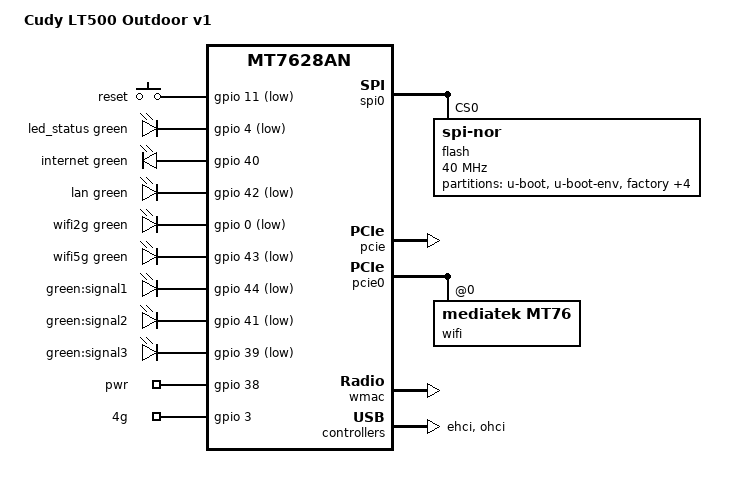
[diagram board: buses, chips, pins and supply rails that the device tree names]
// SPDX-License-Identifier: GPL-2.0-or-later OR MIT

#include "mt7628an.dtsi"

#include <dt-bindings/gpio/gpio.h>
#include <dt-bindings/input/input.h>
#include <dt-bindings/leds/common.h>

/ {
	compatible = "cudy,lt500-outdoor-v1", "mediatek,mt7628an-soc";
	model = "Cudy LT500 Outdoor v1";

	aliases {
		led-boot = &led_status;
		led-running = &led_status;
		led-failsafe = &led_status;
		led-upgrade = &led_status;
		label-mac-device = &ethernet;
	};

	chosen {
		bootargs = "console=ttyS0,115200";
	};

	gpio-keys {
		compatible = "gpio-keys";

		reset {
			label = "reset";
			linux,code = <KEY_RESTART>;
			gpios = <&gpio 11 GPIO_ACTIVE_LOW>;
		};
	};

	leds {
		compatible = "gpio-leds";

		led_status: status {
			gpios = <&gpio 4 GPIO_ACTIVE_LOW>;
			color = <LED_COLOR_ID_GREEN>;
			function = LED_FUNCTION_STATUS;
		};

		internet {
			gpios = <&gpio 40 GPIO_ACTIVE_HIGH>;
			color = <LED_COLOR_ID_GREEN>;
			function = LED_FUNCTION_WAN_ONLINE;
		};

		lan {
			gpios = <&gpio 42 GPIO_ACTIVE_LOW>;
			color = <LED_COLOR_ID_GREEN>;
			function = LED_FUNCTION_LAN;
		};

		wifi2g {
			gpios = <&gpio 0 GPIO_ACTIVE_LOW>;
			color = <LED_COLOR_ID_GREEN>;
			function = LED_FUNCTION_WLAN_2GHZ;
			linux,default-trigger = "phy0tpt";
		};

		wifi5g {
			gpios = <&gpio 43 GPIO_ACTIVE_LOW>;
			color = <LED_COLOR_ID_GREEN>;
			function = LED_FUNCTION_WLAN_5GHZ;
			linux,default-trigger = "phy1tpt";
		};

		signal1 {
			gpios = <&gpio 44 GPIO_ACTIVE_LOW>;
			label = "green:signal1";
		};

		signal2 {
			gpios = <&gpio 41 GPIO_ACTIVE_LOW>;
			label = "green:signal2";
		};

		signal3 {
			gpios = <&gpio 39 GPIO_ACTIVE_LOW>;
			label = "green:signal3";
		};
	};

	gpio-export {
		compatible = "gpio-export";

		pwr {
			gpio-export,name = "pwr";
			gpio-export,output = <0>;
			gpios = <&gpio 38 GPIO_ACTIVE_HIGH>;
		};

		usb4g {
			gpio-export,name = "4g";
			gpio-export,output = <0>;
			gpios = <&gpio 3 GPIO_ACTIVE_HIGH>;
		};
	};
};

&spi0 {
	status = "okay";

	flash@0 {
		compatible = "jedec,spi-nor";
		reg = <0>;
		spi-max-frequency = <40000000>;

		partitions {
			compatible = "fixed-partitions";
			#address-cells = <1>;
			#size-cells = <1>;

			partition@0 {
				label = "u-boot";
				reg = <0x0 0x30000>;
				read-only;
			};

			partition@30000 {
				label = "u-boot-env";
				reg = <0x30000 0x10000>;
				read-only;
			};

			factory: partition@40000 {
				label = "factory";
				reg = <0x40000 0x10000>;
				read-only;

				nvmem-layout {
					compatible = "fixed-layout";
					#address-cells = <1>;
					#size-cells = <1>;

					eeprom_factory_0: eeprom@0 {
						reg = <0x0 0x400>;
					};

					eeprom_factory_8000: eeprom@8000 {
						reg = <0x8000 0x4da8>;
					};
				};
			};

			partition@fd0000 {
				label = "debug";
				reg = <0xfd0000 0x10000>;
				read-only;
			};

			partition@fe0000 {
				label = "backup";
				reg = <0xfe0000 0x10000>;
				read-only;
			};

			bdinfo: partition@ff0000 {
				label = "bdinfo";
				reg = <0xff0000 0x10000>;
				read-only;

				nvmem-layout {
					compatible = "fixed-layout";
					#address-cells = <1>;
					#size-cells = <1>;

					macaddr_bdinfo_de00: macaddr@de00 {
						compatible = "mac-base";
						reg = <0xde00 0x6>;
						#nvmem-cell-cells = <1>;
					};
				};
			};

			partition@50000 {
				compatible = "denx,uimage";
				label = "firmware";
				reg = <0x50000 0xf80000>;
			};
		};
	};
};

&state_default {
	gpio {
		groups = "refclk", "wled_an", "gpio", "spi cs1";
		function = "gpio";
	};
};

&pcie {
	status = "okay";
};

&pcie0 {
	wifi@0,0 {
		compatible = "mediatek,mt76";
		reg = <0x0000 0 0 0 0>;
		nvmem-cells = <&eeprom_factory_8000>, <&macaddr_bdinfo_de00 2>;
		nvmem-cell-names = "eeprom", "mac-address";
		ieee80211-freq-limit = <5000000 6000000>;
	};
};

&wmac {
	status = "okay";

	nvmem-cells = <&eeprom_factory_0>, <&macaddr_bdinfo_de00 0>;
	nvmem-cell-names = "eeprom", "mac-address";
};

&ethernet {
	nvmem-cells = <&macaddr_bdinfo_de00 0>;
	nvmem-cell-names = "mac-address";
};

&ehci {
	status = "okay";
};

&ohci {
	status = "okay";
};

&esw {
	mediatek,portmap = <0x3d>;
	mediatek,portdisable = <0x3e>;
};
